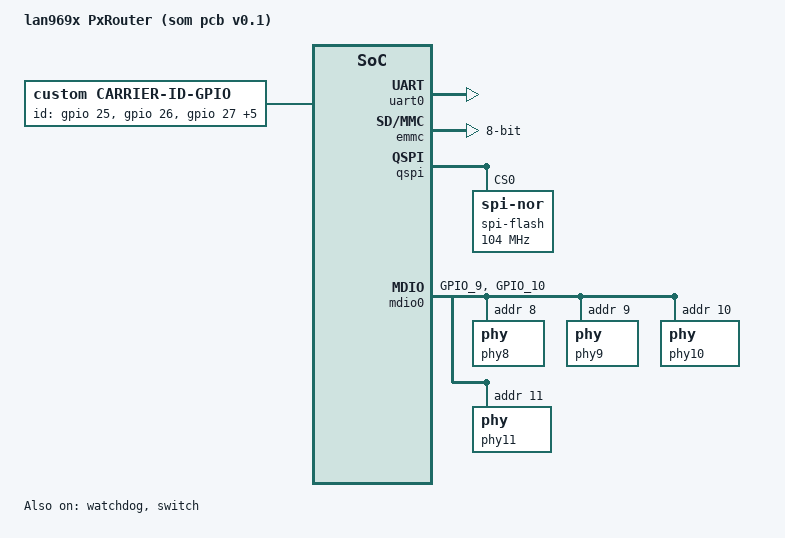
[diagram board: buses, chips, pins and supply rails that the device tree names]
/dts-v1/;

#include "lan969x_a0.dtsi"
#include "lan969x.dtsi"

#include <dt-bindings/mscc/sparx5_data.h>
#include <dt-bindings/gpio/gpio.h>

/ {
  model = "lan969x PxRouter (som pcb v0.1)";

  carrier-id {
    compatible = "custom,carrier-id-gpio";
//    id-gpios = <25 26 27 50 51 52 53 54>;
    id-gpios = <&gpio  25  GPIO_ACTIVE_HIGH>,
               <&gpio  26  GPIO_ACTIVE_HIGH>,
               <&gpio  27  GPIO_ACTIVE_HIGH>,
               <&gpio  50  GPIO_ACTIVE_HIGH>,
               <&gpio  51  GPIO_ACTIVE_HIGH>,
               <&gpio  52  GPIO_ACTIVE_HIGH>,
               <&gpio  53  GPIO_ACTIVE_HIGH>,
               <&gpio  54  GPIO_ACTIVE_HIGH>;
  };
};

&uart0 {
  status = "okay";
  pinctrl-0 = <&fc0_pins>;
  pinctrl-names = "default";
};

&emmc {
  status = "okay";
  pinctrl-0 = <&emmc_sd_pins>;
  pinctrl-names = "default";
  bus-width = <8>;
};

&qspi {
  status = "okay";
  spi-flash@0 {
    status = "okay";
    compatible = "jedec,spi-nor";
    reg = <0>;
    spi-max-frequency = <104000000>;
    u-boot,dm-pre-reloc;
    m25p,fast-read;
    spi-tx-bus-width = <1>;
    spi-rx-bus-width = <4>;
  };
};

&gpio {
  mdio_pins: mdio-pins {
    pins = "GPIO_9", "GPIO_10";
    function = "miim";
  };
};

&watchdog {
    status = "okay";
};

&mdio0 {
  pinctrl-0 = <&mdio_pins>;
  pinctrl-names = "default";
  status = "okay";

  phy8: phy@8 {
    reg = <8>;
  };

  phy9: phy@9 {
    reg = <9>;
  };

  phy10: phy@10 {
    reg = <10>;
  };

  phy11: phy@11 {
    reg = <11>;
  };
};

&switch {
  status = "okay";
  ethernet-ports {
    port0: port@0 {
      reg = <0>;
      phy-handle = <&phy8>;
      phys = <IF_QSGMII 10 0>;
    };

    port1: port@1 {
      reg = <1>;
      phy-handle = <&phy9>;
      phys = <IF_QSGMII 10 0>;
    };

    port2: port@2 {
      reg = <2>;
      phy-handle = <&phy10>;
      phys = <IF_QSGMII 10 0>;
    };

    port3: port@3 {
      reg = <3>;
      phy-handle = <&phy11>;
      phys = <IF_QSGMII 10 0>;
    };
  };
};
